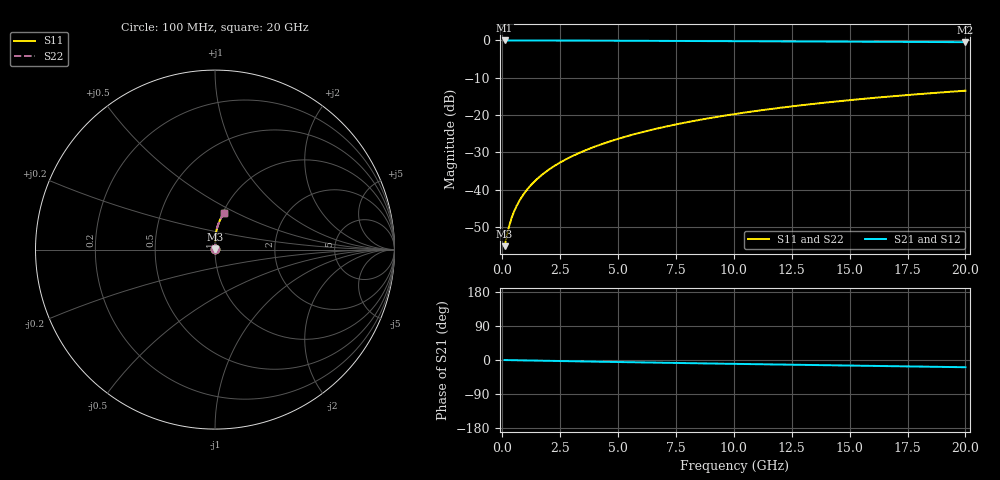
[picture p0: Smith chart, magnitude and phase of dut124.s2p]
! Touchstone file exported from HFSS 2024.1.0
!  File:  C:/UserFiles/LocalFiles/RDL_TSV_Batchsim/temp_RDL_top_124_1778684103.aedt
!  Generated:  10:57:35 PM May 13, 2026
!  Design:  RDL_top
!  Project:  temp_RDL_top_124_1778684103
!  Setup:  Setup1
!  Solution:  Sweep
! Variables:
!  dtsv = 10.80580581um
!  hbump = 3um
!  htsv = 66.72um
!  ldown = 100um
!  lrdl = 225.41um
!  p = 40
!  p1 = 54.55um
!  rhole = 1um
!  t = 450um
!  tdown = 3.915915916um
!  trdl = 2.87um
!  wdown = 15.38538539um
!  wrdl = 23.96um
# GHz S MA R 50.000000
! Terminal data exported
! Port[1] = Box2_T1
! Port[2] = Box2_T2
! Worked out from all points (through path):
!   200 points, 100 MHz to 20 GHz, reference 50 ohm
!   highest |S21| = -0.01 dB at 100 MHz (marker M1); lowest = -0.5 dB at 20 GHz (marker M2)
!   group delay of S21, straight-line fit = 2.62 ps
!   lowest |S11| = -55.1 dB at 100 MHz (marker M3), VSWR 1.00, Z = 50.1 + j0.1 ohm
!   |S11| at or under -10 dB: start of sweep to end of sweep
!   |S22| runs from -55.1 to -13.5 dB; largest |S21 - S12| = 3.1e-15
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0.1  0.001758 34.6  0.9985 -0.1  0.9985 -0.1  0.001758 34.6
! Gamma 0 0 0 0
! Port Impedance 50 0 50 0
0.2  0.002476 52.9  0.9985 -0.2  0.9985 -0.2  0.002476 52.9
0.3  0.00331 62.1  0.9984 -0.3  0.9984 -0.3  0.003311 62.1
0.4  0.004173 67.5  0.9983 -0.5  0.9983 -0.5  0.004173 67.5
0.5  0.005042 71.0  0.9982 -0.6  0.9982 -0.6  0.005042 71.0
0.6  0.005913 73.6  0.9982 -0.7  0.9982 -0.7  0.005913 73.6
0.8  0.007663 77.2  0.998 -0.9  0.998 -0.9  0.007663 77.2
1.1  0.01032 80.5  0.9977 -1.2  0.9977 -1.2  0.01032 80.5
1.3  0.01211 82.1  0.9975 -1.4  0.9975 -1.4  0.01211 82.1
1.6  0.01483 83.8  0.9972 -1.8  0.9972 -1.8  0.01483 83.8
2.1  0.01944 85.7  0.9966 -2.3  0.9966 -2.3  0.01944 85.7
2.7  0.02511 87.1  0.9956 -3.0  0.9956 -3.0  0.02511 87.1
3.5  0.03288 88.2  0.994 -3.8  0.994 -3.8  0.03288 88.2
4.2  0.03988 88.7  0.9924 -4.5  0.9924 -4.5  0.03988 88.7
5  0.04811 88.9  0.9904 -5.4  0.9904 -5.4  0.04811 88.9
5.9  0.05761 88.9  0.988 -6.3  0.988 -6.3  0.05761 88.9
6.8  0.06733 88.5  0.9855 -7.2  0.9855 -7.2  0.06733 88.5
8.4  0.08497 87.5  0.981 -8.7  0.981 -8.7  0.08497 87.5
10.1  0.104 86.1  0.9761 -10.3  0.9761 -10.3  0.104 86.1
13.4  0.1409 82.8  0.9667 -13.3  0.9667 -13.3  0.1409 82.8
16.7  0.1771 79.4  0.9573 -16.2  0.9573 -16.2  0.1771 79.4
20  0.2122 76.0  0.9475 -19.1  0.9475 -19.1  0.2122 76.0
